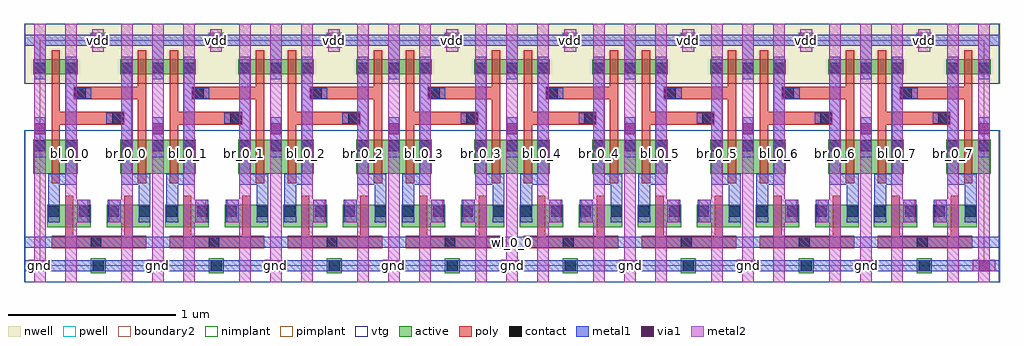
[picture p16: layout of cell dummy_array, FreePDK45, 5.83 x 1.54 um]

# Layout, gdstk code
import gdstk
lib = gdstk.Library(unit=1e-6, precision=5e-10)
def R(c, l, rs):  # rectangles x0, y0, x1, y1
    for r in rs: c.add(gdstk.rectangle(r[:2], r[2:], *l))
def A(c, l, x, y, w, h, nx, ny, dx, dy):  # array of equal rectangles
    R(c, l, [(x+i*dx, y+j*dy, x+i*dx+w, y+j*dy+h) for i in range(nx) for j in range(ny)])
active = (1, 0)
pwell = (2, 0)
nwell = (3, 0)
nimplant = (4, 0)
pimplant = (5, 0)
vtg = (6, 0)
poly = (9, 0)
contact = (10, 0)
metal1 = (11, 0)
via1 = (12, 0)
metal2 = (13, 0)
boundary2 = (239, 0)

dummy_cell_1rw = lib.new_cell('dummy_cell_1rw')
R(dummy_cell_1rw, active, [(0.3025,-0.045,0.3925,0.045), (0.3025,-0.045,0.3925,0.045), (0.045,0.2275,0.305,0.3625), (0.045,0.2275,0.12,0.3625), (0.045,0.2275,0.12,0.3625), (0.23,0.2275,0.305,0.3625), (0.23,0.2275,0.305,0.3625), (0.4,0.2275,0.66,0.3625), (0.4,0.2275,0.475,0.3625), (0.4,0.2275,0.475,0.3625), (0.585,0.2275,0.66,0.3625), (0.585,0.2275,0.66,0.3625), (0.045,0.2875,0.12,0.3625), (0.23,0.2875,0.305,0.3625), (0.4,0.2875,0.475,0.3625), (0.585,0.2875,0.66,0.3625), (-0.04,0.5475,0.04,0.7525), (-0.035,0.5475,0.225,0.7525), (-0.035,0.5475,0.04,0.7525), (0.15,0.5475,0.225,0.7525), (0.15,0.5475,0.225,0.7525), (0.48,0.5475,0.74,0.7525), (0.48,0.5475,0.555,0.7525), (0.48,0.5475,0.555,0.7525), (0.665,0.5475,0.74,0.7525), (0.665,0.5475,0.745,0.7525), (-0.035,0.6775,0.04,0.7525), (0.15,0.6775,0.225,0.7525), (0.48,0.6775,0.555,0.7525), (0.665,0.6775,0.74,0.7525), (-0.04,1.1425,0.04,1.2325), (-0.035,1.1425,0.04,1.2175), (-0.035,1.1425,0.225,1.2325), (-0.035,1.1425,0.04,1.2325), (0.15,1.1425,0.225,1.2175), (0.15,1.1425,0.225,1.2325), (0.15,1.1425,0.225,1.2325), (0.48,1.1425,0.555,1.2175), (0.48,1.1425,0.74,1.2325), (0.48,1.1425,0.555,1.2325), (0.48,1.1425,0.555,1.2325), (0.665,1.1425,0.74,1.2175), (0.665,1.1425,0.74,1.2325), (0.665,1.1425,0.745,1.2325), (0.3025,1.3,0.3925,1.39), (0.3025,1.3,0.3925,1.39)])
R(dummy_cell_1rw, pwell, [(-0.095,-0.1,0.8,0.8075), (0.2475,-0.1,0.4475,0.1), (0.2475,-0.1,0.4475,0.1), (-0.01,0.1725,0.36,0.4175), (0.345,0.1725,0.715,0.4175), (-0.09,0.4925,0.28,0.8075), (0.425,0.4925,0.795,0.8075)])
R(dummy_cell_1rw, nwell, [(-0.095,1.0875,0.8,1.445), (-0.09,1.0875,0.28,1.2875), (0.425,1.0875,0.795,1.2875), (0.2475,1.245,0.4475,1.445), (0.2475,1.245,0.4475,1.445)])
R(dummy_cell_1rw, nimplant, [(0.045,0.2275,0.305,0.3625), (0.4,0.2275,0.66,0.3625), (-0.035,0.5475,0.225,0.7525), (0.48,0.5475,0.74,0.7525), (0.3025,1.3,0.3925,1.39), (0.3025,1.3,0.3925,1.39)])
R(dummy_cell_1rw, pimplant, [(0.3025,-0.045,0.3925,0.045), (-0.035,1.1425,0.225,1.2325), (0.48,1.1425,0.74,1.2325)])
R(dummy_cell_1rw, vtg, [(-0.09,-0.1,0.795,0.8075), (-0.01,0.1725,0.36,0.4175), (0.345,0.1725,0.715,0.4175), (-0.09,0.4925,0.28,0.8075), (0.425,0.4925,0.795,0.8075), (-0.09,1.0875,0.28,1.2875), (-0.09,1.0875,0.795,1.445), (0.425,1.0875,0.795,1.2875)])
R(dummy_cell_1rw, poly, [(0.07,0.1025,0.635,0.1775), (0.2975,0.1025,0.3725,0.1775), (0.15,0.1725,0.2,0.2275), (0.15,0.1725,0.2,0.4175), (0.505,0.1725,0.555,0.2275), (0.505,0.1725,0.555,0.4175), (0.15,0.3625,0.2,0.4175), (0.505,0.3625,0.555,0.4175), (0.07,0.4925,0.12,0.5475), (0.07,0.4925,0.12,0.8075), (0.585,0.4925,0.635,0.5475), (0.585,0.4925,0.635,0.8075), (0.07,0.7525,0.12,0.8075), (0.585,0.7525,0.635,0.8075), (0.07,0.8075,0.12,1.0875), (0.07,0.8075,0.12,1.0875), (0.585,0.8075,0.635,1.0875), (0.585,0.8075,0.635,1.0875), (0.07,0.8425,0.5025,0.9175), (0.4275,0.8425,0.5025,0.9175), (0.4275,0.8425,0.5025,0.9175), (0.2025,0.9925,0.2775,1.0675), (0.2025,0.9925,0.2775,1.0675), (0.2025,0.9925,0.635,1.0675), (0.07,1.0875,0.12,1.1425), (0.07,1.0875,0.12,1.2875), (0.585,1.0875,0.635,1.1425), (0.585,1.0875,0.635,1.2875), (0.07,1.2325,0.12,1.2875), (0.585,1.2325,0.635,1.2875)])
R(dummy_cell_1rw, contact, [(0.315,-0.0325,0.38,0.0325), (0.3025,0.1075,0.3675,0.1725), (0.05,0.2925,0.115,0.3575), (0.235,0.2925,0.3,0.3575), (0.405,0.2925,0.47,0.3575), (0.59,0.2925,0.655,0.3575), (-0.0325,0.6825,0.0325,0.7475), (0.155,0.6825,0.22,0.7475), (0.485,0.6825,0.55,0.7475), (0.6725,0.6825,0.7375,0.7475), (0.4325,0.8475,0.4975,0.9125), (0.4325,0.8475,0.4975,0.9125), (0.2075,0.9975,0.2725,1.0625), (0.2075,0.9975,0.2725,1.0625), (-0.0325,1.1475,0.0325,1.2125), (0.155,1.1475,0.22,1.2125), (0.485,1.1475,0.55,1.2125), (0.6725,1.1475,0.7375,1.2125), (0.315,1.3125,0.38,1.3775)])
R(dummy_cell_1rw, metal1, [(-0.09,-0.0325,0.795,0.0325), (-0.0675,-0.0325,0.0675,0.0325), (-0.0675,-0.0325,0.0675,0.0325), (0.285,-0.0325,0.42,0.0325), (0.285,-0.0325,0.42,0.0325), (0.6375,-0.0325,0.7725,0.0325), (0.6375,-0.0325,0.7725,0.0325), (0.6375,-0.0325,0.7725,0.0325), (0.6375,-0.0325,0.7725,0.0325), (-0.09,0.1075,0.795,0.1725), (-0.09,0.1075,0.795,0.1725), (0.2675,0.1075,0.4025,0.1725), (-0.085,0.11,-0.0325,0.1725), (0.62,0.11,0.6725,0.1725), (0.05,0.2575,0.115,0.3925), (0.05,0.2575,0.12,0.5475), (0.2225,0.2575,0.2875,0.3925), (0.235,0.2575,0.3,0.3925), (0.405,0.2575,0.47,0.3925), (0.4175,0.2575,0.4825,0.3925), (0.59,0.2575,0.655,0.3925), (0.59,0.2575,0.66,0.5475), (0.05,0.4825,0.22,0.5475), (0.155,0.4825,0.22,1.2225), (0.485,0.4825,0.66,0.5475), (0.485,0.4825,0.55,1.1125), (-0.035,0.6475,0.035,0.7825), (-0.035,0.6475,0.035,0.7825), (-0.03,0.6475,0.035,0.7825), (0.155,0.6475,0.22,0.7825), (0.485,0.6475,0.55,0.7825), (0.67,0.6475,0.735,0.7825), (0.67,0.6475,0.74,0.7825), (0.67,0.6475,0.74,0.7825), (0.67,0.6475,0.74,0.7825), (0.67,0.6475,0.74,0.7825), (0.67,0.6475,0.74,0.7825), (0.67,0.6475,0.74,0.7825), (-0.0325,0.75,0.0325,0.885), (-0.0325,0.75,0.0325,0.885), (-0.0325,0.75,0.0325,0.885), (-0.0325,0.75,0.0325,0.885), (-0.0325,0.75,0.0325,0.885), (-0.0325,0.75,0.0325,0.885), (0.6725,0.75,0.7375,0.885), (0.6725,0.75,0.7375,0.885), (0.6725,0.75,0.7375,0.885), (0.6725,0.75,0.7375,0.885), (0.6725,0.75,0.7375,0.885), (0.6725,0.75,0.7375,0.885), (0.6725,0.75,0.7375,0.885), (0.6725,0.75,0.7375,0.885), (0.6725,0.75,0.7375,0.885), (0.6725,0.75,0.7375,0.885), (0.6725,0.75,0.7375,0.885), (0.6725,0.75,0.7375,0.885), (0.6725,0.75,0.7375,0.885), (0.6725,0.75,0.7375,0.885), (0.6725,0.75,0.7375,0.885), (0.6725,0.75,0.7375,0.885), (0.6725,0.75,0.7375,0.885), (0.6725,0.75,0.7375,0.885), (0.6725,0.75,0.7375,0.885), (0.6725,0.75,0.7375,0.885), (0.6725,0.75,0.7375,0.885), (0.6725,0.75,0.7375,0.885), (0.6725,0.75,0.7375,0.885), (0.6725,0.75,0.7375,0.885), (0.3975,0.8475,0.5325,0.9125), (0.3975,0.8475,0.5325,0.9125), (0.1725,0.9975,0.3075,1.0625), (0.1725,0.9975,0.3075,1.0625), (-0.035,1.1125,0.035,1.3125), (-0.03,1.1125,0.035,1.2475), (0.155,1.1125,0.22,1.2475), (0.485,1.1125,0.55,1.2475), (0.67,1.1125,0.735,1.2475), (0.67,1.1125,0.74,1.3125), (0.67,1.1125,0.74,1.3125), (-0.09,1.3125,0.795,1.3775)])
R(dummy_cell_1rw, via1, [(-0.0325,-0.0325,0.0325,0.0325), (-0.0325,-0.0325,0.0325,0.0325), (0.6725,-0.0325,0.7375,0.0325), (0.6725,-0.0325,0.7375,0.0325), (0.6725,-0.0325,0.7375,0.0325), (0.6725,-0.0325,0.7375,0.0325), (-0.0325,0.785,0.0325,0.85), (-0.0325,0.785,0.0325,0.85), (-0.0325,0.785,0.0325,0.85), (-0.0325,0.785,0.0325,0.85), (-0.0325,0.785,0.0325,0.85), (-0.0325,0.785,0.0325,0.85), (0.6725,0.785,0.7375,0.85), (0.6725,0.785,0.7375,0.85), (0.6725,0.785,0.7375,0.85), (0.6725,0.785,0.7375,0.85), (0.6725,0.785,0.7375,0.85), (0.6725,0.785,0.7375,0.85), (0.6725,0.785,0.7375,0.85), (0.6725,0.785,0.7375,0.85), (0.6725,0.785,0.7375,0.85), (0.6725,0.785,0.7375,0.85), (0.6725,0.785,0.7375,0.85), (0.6725,0.785,0.7375,0.85), (0.6725,0.785,0.7375,0.85), (0.6725,0.785,0.7375,0.85), (0.6725,0.785,0.7375,0.85), (0.6725,0.785,0.7375,0.85), (0.6725,0.785,0.7375,0.85), (0.6725,0.785,0.7375,0.85), (0.6725,0.785,0.7375,0.85), (0.6725,0.785,0.7375,0.85), (0.6725,0.785,0.7375,0.85), (0.6725,0.785,0.7375,0.85), (0.6725,0.785,0.7375,0.85), (0.6725,0.785,0.7375,0.85), (0.315,1.3125,0.38,1.3775)])
R(dummy_cell_1rw, metal2, [(-0.035,-0.1,0.035,1.445), (0.15,-0.1,0.22,1.445), (0.15,-0.1,0.22,1.445), (0.485,-0.1,0.555,1.445), (0.485,-0.1,0.555,1.445), (0.67,-0.1,0.74,1.445), (-0.0675,-0.035,0.0675,0.035), (-0.0675,-0.035,0.0675,0.035), (-0.0675,-0.035,0.0675,0.035), (0.6375,-0.035,0.7725,0.035), (0.6375,-0.035,0.7725,0.035), (0.6375,-0.035,0.7725,0.035), (0.6375,-0.035,0.7725,0.035), (0.4925,-0.0325,0.55,0.0275), (0.67,-0.0325,0.74,1.3775), (-0.03,-0.03,0.03,0.0275), (0.1575,-0.025,0.2125,0.0275), (0.675,-0.025,0.735,0.0325), (0.22,0.2575,0.29,0.3925), (0.415,0.2575,0.485,0.3925), (-0.035,0.75,0.035,0.885), (-0.035,0.75,0.035,0.885), (-0.035,0.75,0.035,0.885), (-0.035,0.75,0.035,0.885), (-0.035,0.75,0.035,0.885), (-0.035,0.75,0.035,0.885), (0.67,0.75,0.74,0.885), (0.67,0.75,0.74,0.885), (0.67,0.75,0.74,0.885), (0.67,0.75,0.74,0.885), (0.67,0.75,0.74,0.885), (0.67,0.75,0.74,0.885), (0.67,0.75,0.74,0.885), (0.67,0.75,0.74,0.885), (0.67,0.75,0.74,0.885), (0.67,0.75,0.74,0.885), (0.67,0.75,0.74,0.885), (0.67,0.75,0.74,0.885), (0.67,0.75,0.74,0.885), (0.67,0.75,0.74,0.885), (0.67,0.75,0.74,0.885), (0.67,0.75,0.74,0.885), (0.67,0.75,0.74,0.885), (0.67,0.75,0.74,0.885), (0.67,0.75,0.74,0.885), (0.67,0.75,0.74,0.885), (0.67,0.75,0.74,0.885), (0.67,0.75,0.74,0.885), (0.67,0.75,0.74,0.885), (0.67,0.75,0.74,0.885), (0.3125,1.2775,0.3825,1.4125), (0.3125,1.2775,0.3825,1.4125)])
R(dummy_cell_1rw, boundary2, [(0,0,0.705,1.345)])
dummy_cell_1rw.add(gdstk.Label('wl', (-0.05,0.147), layer=11, texttype=0))
dummy_cell_1rw.add(gdstk.Label('vdd', (0.368,1.355), layer=13, texttype=0))
dummy_cell_1rw.add(gdstk.Label('gnd', (-0.0475,0.015), layer=13, texttype=0))
dummy_cell_1rw.add(gdstk.Label('br', (0.52,0.003), layer=13, texttype=0))
dummy_cell_1rw.add(gdstk.Label('bl', (0.19,0.003), layer=13, texttype=0))
dummy_cell_1rw.add(gdstk.Label('bl', (0.185,0.6725), layer=13, texttype=0))
dummy_cell_1rw.add(gdstk.Label('br', (0.52,0.6725), layer=13, texttype=0))
dummy_cell_1rw.add(gdstk.Label('wl', (0.3525,0.14), layer=11, texttype=0))
dummy_cell_1rw.add(gdstk.Label('vdd', (0.3475,1.345), layer=13, texttype=0))
dummy_cell_1rw.add(gdstk.Label('gnd', (0,0), layer=13, texttype=0))

dummy_array = lib.new_cell('dummy_array')
R(dummy_array, metal1, [(0,0.1075,5.64,0.1725)])
A(dummy_array, metal2, -0.0675, -0.035, 0.135, 0.07, 8, 1, 0.705, 0)
A(dummy_array, metal2, 0.3125, 1.2775, 0.07, 0.135, 8, 1, 0.705, 0)
R(dummy_array, metal2, [(0.15,0,0.22,1.345), (0.485,0,0.555,1.345), (0.855,0,0.925,1.345), (1.19,0,1.26,1.345), (1.56,0,1.63,1.345), (1.895,0,1.965,1.345), (2.265,0,2.335,1.345), (2.6,0,2.67,1.345), (2.97,0,3.04,1.345), (3.305,0,3.375,1.345), (3.675,0,3.745,1.345), (4.01,0,4.08,1.345), (4.38,0,4.45,1.345), (4.715,0,4.785,1.345), (5.085,0,5.155,1.345), (5.42,0,5.49,1.345)])
R(dummy_array, boundary2, [(0,0,5.64,1.345)])
dummy_array.add(gdstk.Reference(dummy_cell_1rw, (0,0)))
dummy_array.add(gdstk.Reference(dummy_cell_1rw, (0.705,0)))
dummy_array.add(gdstk.Reference(dummy_cell_1rw, (1.41,0)))
dummy_array.add(gdstk.Reference(dummy_cell_1rw, (2.115,0)))
dummy_array.add(gdstk.Reference(dummy_cell_1rw, (2.82,0)))
dummy_array.add(gdstk.Reference(dummy_cell_1rw, (3.525,0)))
dummy_array.add(gdstk.Reference(dummy_cell_1rw, (4.23,0)))
dummy_array.add(gdstk.Reference(dummy_cell_1rw, (4.935,0)))
dummy_array.add(gdstk.Label('bl_0_0', (0.185,0.6725), layer=13, texttype=0))
dummy_array.add(gdstk.Label('br_0_0', (0.52,0.6725), layer=13, texttype=0))
dummy_array.add(gdstk.Label('bl_0_1', (0.89,0.6725), layer=13, texttype=0))
dummy_array.add(gdstk.Label('br_0_1', (1.225,0.6725), layer=13, texttype=0))
dummy_array.add(gdstk.Label('bl_0_2', (1.595,0.6725), layer=13, texttype=0))
dummy_array.add(gdstk.Label('br_0_2', (1.93,0.6725), layer=13, texttype=0))
dummy_array.add(gdstk.Label('bl_0_3', (2.3,0.6725), layer=13, texttype=0))
dummy_array.add(gdstk.Label('br_0_3', (2.635,0.6725), layer=13, texttype=0))
dummy_array.add(gdstk.Label('bl_0_4', (3.005,0.6725), layer=13, texttype=0))
dummy_array.add(gdstk.Label('br_0_4', (3.34,0.6725), layer=13, texttype=0))
dummy_array.add(gdstk.Label('bl_0_5', (3.71,0.6725), layer=13, texttype=0))
dummy_array.add(gdstk.Label('br_0_5', (4.045,0.6725), layer=13, texttype=0))
dummy_array.add(gdstk.Label('bl_0_6', (4.415,0.6725), layer=13, texttype=0))
dummy_array.add(gdstk.Label('br_0_6', (4.75,0.6725), layer=13, texttype=0))
dummy_array.add(gdstk.Label('bl_0_7', (5.12,0.6725), layer=13, texttype=0))
dummy_array.add(gdstk.Label('br_0_7', (5.455,0.6725), layer=13, texttype=0))
dummy_array.add(gdstk.Label('wl_0_0', (2.82,0.14), layer=11, texttype=0))
dummy_array.add(gdstk.Label('vdd', (4.5775,1.345), layer=13, texttype=0))
dummy_array.add(gdstk.Label('vdd', (1.0525,1.345), layer=13, texttype=0))
dummy_array.add(gdstk.Label('vdd', (5.2825,1.345), layer=13, texttype=0))
dummy_array.add(gdstk.Label('vdd', (2.4625,1.345), layer=13, texttype=0))
dummy_array.add(gdstk.Label('vdd', (1.7575,1.345), layer=13, texttype=0))
dummy_array.add(gdstk.Label('vdd', (3.8725,1.345), layer=13, texttype=0))
dummy_array.add(gdstk.Label('vdd', (0.3475,1.345), layer=13, texttype=0))
dummy_array.add(gdstk.Label('vdd', (3.1675,1.345), layer=13, texttype=0))
dummy_array.add(gdstk.Label('gnd', (2.82,0), layer=13, texttype=0))
dummy_array.add(gdstk.Label('gnd', (3.525,0), layer=13, texttype=0))
dummy_array.add(gdstk.Label('gnd', (0,0), layer=13, texttype=0))
dummy_array.add(gdstk.Label('gnd', (4.23,0), layer=13, texttype=0))
dummy_array.add(gdstk.Label('gnd', (1.41,0), layer=13, texttype=0))
dummy_array.add(gdstk.Label('gnd', (2.115,0), layer=13, texttype=0))
dummy_array.add(gdstk.Label('gnd', (0.705,0), layer=13, texttype=0))
dummy_array.add(gdstk.Label('gnd', (4.935,0), layer=13, texttype=0))

lib.write_gds('dummy_array.gds')
